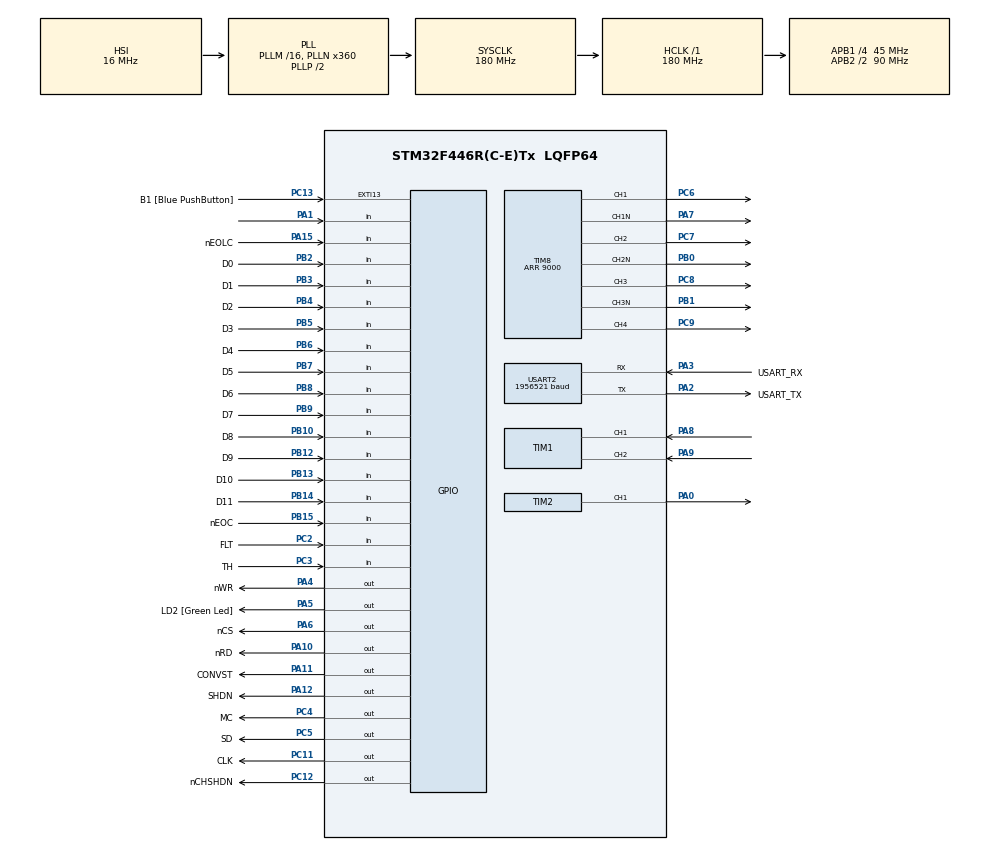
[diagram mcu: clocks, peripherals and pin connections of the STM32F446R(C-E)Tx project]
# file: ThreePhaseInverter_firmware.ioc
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Dma.Request0=USART2_RX
Dma.USART2_RX.0.Direction=DMA_PERIPH_TO_MEMORY
Dma.USART2_RX.0.FIFOMode=DMA_FIFOMODE_DISABLE
Dma.USART2_RX.0.Instance=DMA1_Stream5
Dma.USART2_RX.0.MemDataAlignment=DMA_MDATAALIGN_BYTE
Dma.USART2_RX.0.MemInc=DMA_MINC_ENABLE
Dma.USART2_RX.0.Mode=DMA_CIRCULAR
Dma.USART2_RX.0.PeriphDataAlignment=DMA_PDATAALIGN_BYTE
Dma.USART2_RX.0.PeriphInc=DMA_PINC_DISABLE
Dma.USART2_RX.0.Priority=DMA_PRIORITY_LOW
Mcu.Family=STM32F4
Mcu.Name=STM32F446R(C-E)Tx
Mcu.Package=LQFP64
NVIC.DMA1_Stream5_IRQn=true\:0\:0\:false\:false\:true\:false\:true\:true
NVIC.PriorityGroup=NVIC_PRIORITYGROUP_0
NVIC.TIM8_UP_TIM13_IRQn=true\:0\:0\:false\:false\:true\:true\:true\:true
PA0-WKUP.Signal=S_TIM2_CH1_ETR
PA1.Signal=GPIO_Input
PA10.GPIO_Label=nRD
PA10.Signal=GPIO_Output
PA11.GPIO_Label=CONVST
PA11.Signal=GPIO_Output
PA12.GPIO_Label=SHDN
PA12.Signal=GPIO_Output
PA13.GPIO_Label=TMS
PA13.Mode=Serial_Wire
PA13.Signal=SYS_JTMS-SWDIO
PA14.GPIO_Label=TCK
PA14.Mode=Serial_Wire
PA14.Signal=SYS_JTCK-SWCLK
PA15.GPIO_Label=nEOLC
PA15.GPIO_PuPd=GPIO_PULLDOWN
PA15.Signal=GPIO_Input
PA2.GPIO_Label=USART_TX
PA2.Mode=Asynchronous
PA2.Signal=USART2_TX
PA3.GPIO_Label=USART_RX
PA3.Mode=Asynchronous
PA3.Signal=USART2_RX
PA4.GPIO_Label=nWR
PA4.Signal=GPIO_Output
PA5.GPIO_Label=LD2 [Green Led]
PA5.Signal=GPIO_Output
PA6.GPIO_Label=nCS
PA6.Signal=GPIO_Output
PA7.Mode=PWM Generation1 CH1 CH1N
PA7.Signal=TIM8_CH1N
PA8.Signal=S_TIM1_CH1
PA9.Signal=S_TIM1_CH2
PB0.Mode=PWM Generation2 CH2 CH2N
PB0.Signal=TIM8_CH2N
PB1.Mode=PWM Generation3 CH3 CH3N
PB1.Signal=TIM8_CH3N
PB10.GPIO_Label=D8
PB10.GPIO_PuPd=GPIO_PULLDOWN
PB10.Signal=GPIO_Input
PB12.GPIO_Label=D9
PB12.GPIO_PuPd=GPIO_PULLDOWN
PB12.Signal=GPIO_Input
PB13.GPIO_Label=D10
PB13.GPIO_PuPd=GPIO_PULLDOWN
PB13.Signal=GPIO_Input
PB14.GPIO_Label=D11
PB14.GPIO_PuPd=GPIO_PULLDOWN
PB14.Signal=GPIO_Input
PB15.GPIO_Label=nEOC
PB15.GPIO_PuPd=GPIO_PULLDOWN
PB15.Signal=GPIO_Input
PB2.GPIO_Label=D0
PB2.GPIO_PuPd=GPIO_PULLDOWN
PB2.Signal=GPIO_Input
PB3.GPIO_Label=D1
PB3.GPIO_PuPd=GPIO_PULLDOWN
PB3.Signal=GPIO_Input
PB4.GPIO_Label=D2
PB4.GPIO_PuPd=GPIO_PULLDOWN
PB4.Signal=GPIO_Input
PB5.GPIO_Label=D3
PB5.GPIO_PuPd=GPIO_PULLDOWN
PB5.Signal=GPIO_Input
PB6.GPIO_Label=D4
PB6.GPIO_PuPd=GPIO_PULLDOWN
PB6.Signal=GPIO_Input
PB7.GPIO_Label=D5
PB7.GPIO_PuPd=GPIO_PULLDOWN
PB7.Signal=GPIO_Input
PB8.GPIO_Label=D6
PB8.GPIO_PuPd=GPIO_PULLDOWN
PB8.Signal=GPIO_Input
PB9.GPIO_Label=D7
PB9.GPIO_PuPd=GPIO_PULLDOWN
PB9.Signal=GPIO_Input
PC11.GPIO_Label=CLK
PC11.Signal=GPIO_Output
PC12.GPIO_Label=nCHSHDN
PC12.Signal=GPIO_Output
PC13.GPIO_Label=B1 [Blue PushButton]
PC13.GPIO_ModeDefaultEXTI=GPIO_MODE_IT_FALLING
PC13.Signal=GPXTI13
PC14-OSC32_IN.Mode=LSE-External-Oscillator
PC14-OSC32_IN.Signal=RCC_OSC32_IN
PC15-OSC32_OUT.Mode=LSE-External-Oscillator
PC15-OSC32_OUT.Signal=RCC_OSC32_OUT
PC2.GPIO_Label=FLT
PC2.Signal=GPIO_Input
PC3.GPIO_Label=TH
PC3.Signal=GPIO_Input
PC4.GPIO_Label=MC
PC4.Signal=GPIO_Output
PC5.GPIO_Label=SD
PC5.Signal=GPIO_Output
PC6.Signal=S_TIM8_CH1
PC7.Signal=S_TIM8_CH2
PC8.Signal=S_TIM8_CH3
PC9.Signal=S_TIM8_CH4
PH0-OSC_IN.Mode=HSE-External-Oscillator
PH0-OSC_IN.Signal=RCC_OSC_IN
PH1-OSC_OUT.Mode=HSE-External-Oscillator
PH1-OSC_OUT.Signal=RCC_OSC_OUT
ProjectManager.HeapSize=0x200
ProjectManager.StackSize=0x400
ProjectManager.TargetToolchain=STM32CubeIDE
RCC.48MHZClocksFreq_Value=84000000
RCC.AHBFreq_Value=180000000
RCC.APB1CLKDivider=RCC_HCLK_DIV4
RCC.APB1Freq_Value=45000000
RCC.APB1TimFreq_Value=90000000
RCC.APB2CLKDivider=RCC_HCLK_DIV2
RCC.APB2Freq_Value=90000000
RCC.APB2TimFreq_Value=180000000
RCC.CortexFreq_Value=180000000
RCC.FLatency-AdvancedSettings=FLASH_LATENCY_5
RCC.HCLKFreq_Value=180000000
RCC.HSE_VALUE=8000000
RCC.HSI_VALUE=16000000
RCC.PLLN=360
RCC.SYSCLKFreq_VALUE=180000000
RCC.SYSCLKSource=RCC_SYSCLKSOURCE_PLLCLK
RCC.USBFreq_Value=180000000
RCC.VCOOutputFreq_Value=360000000
SH.S_TIM1_CH1.0=TIM1_CH1,Encoder_Interface
SH.S_TIM1_CH2.0=TIM1_CH2,Encoder_Interface
SH.S_TIM2_CH1_ETR.0=TIM2_CH1,PWM Generation1 CH1
SH.S_TIM8_CH1.0=TIM8_CH1,PWM Generation1 CH1 CH1N
SH.S_TIM8_CH2.0=TIM8_CH2,PWM Generation2 CH2 CH2N
SH.S_TIM8_CH3.0=TIM8_CH3,PWM Generation3 CH3 CH3N
SH.S_TIM8_CH4.0=TIM8_CH4,PWM Generation4 CH4
TIM1.EncoderMode=TIM_ENCODERMODE_TI12
TIM2.AutoReloadPreload=TIM_AUTORELOAD_PRELOAD_DISABLE
TIM2.Channel-PWM\ Generation1\ CH1=TIM_CHANNEL_1
TIM2.CounterMode=TIM_COUNTERMODE_UP
TIM2.OCMode_PWM-PWM\ Generation1\ CH1=TIM_OCMODE_PWM2
TIM2.Period=60000
TIM2.Pulse-PWM\ Generation1\ CH1=87
TIM2.TIM_MasterOutputTrigger=TIM_TRGO_RESET
TIM2.TIM_MasterSlaveMode=TIM_MASTERSLAVEMODE_DISABLE
TIM8.Channel-PWM\ Generation1\ CH1\ CH1N=TIM_CHANNEL_1
TIM8.Channel-PWM\ Generation2\ CH2\ CH2N=TIM_CHANNEL_2
TIM8.Channel-PWM\ Generation3\ CH3\ CH3N=TIM_CHANNEL_3
TIM8.Channel-PWM\ Generation4\ CH4=TIM_CHANNEL_4
TIM8.CounterMode=TIM_COUNTERMODE_CENTERALIGNED1
TIM8.DeadTime=154
TIM8.Period=9000
TIM8.RepetitionCounter=0
TIM8.TIM_MasterOutputTrigger=TIM_TRGO_UPDATE
TIM8.TIM_MasterSlaveMode=TIM_MASTERSLAVEMODE_DISABLE
USART2.BaudRate=1956521
USART2.VirtualMode=VM_ASYNC
VP_TIM2_VS_ClockSourceINT.Mode=Internal
VP_TIM2_VS_ClockSourceITR.Mode=TriggerSource_ITR1
VP_TIM2_VS_ControllerModeReset.Mode=Reset Mode
VP_TIM8_VS_ClockSourceINT.Mode=Internal
board=NUCLEO-F446RE

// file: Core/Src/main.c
/* USER CODE BEGIN Header */
/**
  ******************************************************************************
  * @file           : main.c
  * @brief          : Main program body
  ******************************************************************************
  * @attention
  *
  * Copyright (c) 2023 STMicroelectronics.
  * All rights reserved.
  *
  * This software is licensed under terms that can be found in the LICENSE file
  * in the root directory of this software component.
  * If no LICENSE file comes with this software, it is provided AS-IS.
  *
  ******************************************************************************
  */
/* USER CODE END Header */
#include "main.h"

/* USER CODE BEGIN Includes */

#include <stdio.h>
#include <math.h>
#include <malloc.h>

#include "ntshell.h"
#include "usrcmd.h"

#include "wave_capture.h"

#include "motor_control.h"

/* USER CODE END Includes */

TIM_HandleTypeDef htim1;
TIM_HandleTypeDef htim2;
TIM_HandleTypeDef htim8;

UART_HandleTypeDef huart2;
DMA_HandleTypeDef hdma_usart2_rx;

/* USER CODE BEGIN PV */

ntshell_t nts;

WaveCapture_t wavecap;

MotorControl_t motorControl;

/* USER CODE END PV */

void SystemClock_Config(void);
static void MX_GPIO_Init(void);
static void MX_DMA_Init(void);
static void MX_USART2_UART_Init(void);
static void MX_TIM8_Init(void);
static void MX_TIM2_Init(void);
static void MX_TIM1_Init(void);
/* USER CODE BEGIN PFP */

#ifdef __GNUC__
#define PUTCHAR_PROTOTYPE int __io_putchar(int ch)
#else
#define PUTCHAR_PROTOTYPE int fputc(int ch, FILE *f)
#endif /* __GNUC__ */
void __io_putchar(uint8_t ch)
{
	HAL_UART_Transmit(&huart2, &ch, 1, 1);
}

int wave_tx_func(const uint8_t *buf, int length)
{
	HAL_StatusTypeDef status;
	status = HAL_UART_Transmit(&huart2, buf, (uint16_t)length, 1000);
	if(status != HAL_OK)
	{
		return 0;
	}
	return length;
}

/* USER CODE END PFP */

/* USER CODE BEGIN 0 */

void HAL_TIM_PeriodElapsedCallback (TIM_HandleTypeDef * htim)
{

	if(htim->Instance == TIM8 && __HAL_TIM_IS_TIM_COUNTING_DOWN(&htim8))
	{

		MotorControl_Update(&motorControl);

		WaveCapture_Sampling(&wavecap);

	}

}

/* USER CODE END 0 */

int main(void)
{

  /* MCU Configuration--------------------------------------------------------*/

  /* Reset of all peripherals, Initializes the Flash interface and the Systick. */
  HAL_Init();

  /* Configure the system clock */
  SystemClock_Config();

  /* Initialize all configured peripherals */
  MX_GPIO_Init();
  MX_DMA_Init();
  MX_USART2_UART_Init();
  MX_TIM8_Init();
  MX_TIM2_Init();
  MX_TIM1_Init();
  /* USER CODE BEGIN 2 */

  	printf("Hello World\n");

  	WaveCapture_Init_ChannelInfo_t wave_ch_init[] = {
//  			{"ad_0", WAVECAPTURE_TYPE_INT16, &(motorControl.sensor.ad_arr[0])},
//  			{"ad_1", WAVECAPTURE_TYPE_INT16, &(motorControl.sensor.ad_arr[1])},
//  			{"ad_2", WAVECAPTURE_TYPE_INT16, &(motorControl.sensor.ad_arr[2])},
//  			{"ad_3", WAVECAPTURE_TYPE_INT16, &(motorControl.sensor.ad_arr[3])},
//  			{"amp_u", WAVECAPTURE_TYPE_FLOAT, &(motorControl.amp_u)},
//  			{"amp_v", WAVECAPTURE_TYPE_FLOAT, &(motorControl.amp_v)},
//  			{"amp_w", WAVECAPTURE_TYPE_FLOAT, &(motorControl.amp_w)},
//  			{"Vu_ref", WAVECAPTURE_TYPE_FLOAT, &(motorControl.Vu_ref)},
//  			{"Vv_ref", WAVECAPTURE_TYPE_FLOAT, &(motorControl.Vv_ref)},
//  			{"Vw_ref", WAVECAPTURE_TYPE_FLOAT, &(motorControl.Vw_ref)},
//  			{"Iu", WAVECAPTURE_TYPE_FLOAT, &(motorControl.sensor.Iu)},
//  			{"Iv", WAVECAPTURE_TYPE_FLOAT, &(motorControl.sensor.Iv)},
//  			{"Iw", WAVECAPTURE_TYPE_FLOAT, &(motorControl.sensor.Iw)},
  			{"Vdc", WAVECAPTURE_TYPE_FLOAT, &(motorControl.sensor.Vdc)},
  			{"omega_m", WAVECAPTURE_TYPE_FLOAT, &(motorControl.omega_rm)},
  			{"enc_diff", WAVECAPTURE_TYPE_INT16, &(motorControl.encoder.enc_diff)},
  			{"Id", WAVECAPTURE_TYPE_FLOAT, &(motorControl.Id)},
  			{"Iq", WAVECAPTURE_TYPE_FLOAT, &(motorControl.Iq)},
  			{"Id_ref", WAVECAPTURE_TYPE_FLOAT, &(motorControl.Id_ref)},
  			{"Iq_ref", WAVECAPTURE_TYPE_FLOAT, &(motorControl.Iq_ref)},
//  			{"Vd_ref", WAVECAPTURE_TYPE_FLOAT, &(motorControl.Vd_ref)},
//  			{"Vq_ref", WAVECAPTURE_TYPE_FLOAT, &(motorControl.Vq_ref)},
//  			{"Vdq_lim", WAVECAPTURE_TYPE_FLOAT, &(motorControl.acr.Vdq_lim)},
//  			{"phi2d_est", WAVECAPTURE_TYPE_FLOAT, &(motorControl.phi_2d_est)},
//  			{"phi2q_est", WAVECAPTURE_TYPE_FLOAT, &(motorControl.phi_2q_est)},
//  			{"omega_s", WAVECAPTURE_TYPE_FLOAT, &(motorControl.omega_s_ref)},
//  			{"theta", WAVECAPTURE_TYPE_FLOAT, &(motorControl.theta)},
  			{"omega_ref", WAVECAPTURE_TYPE_FLOAT, &(motorControl.omega_ref)},
  			{"theta_rm", WAVECAPTURE_TYPE_FLOAT, &(motorControl.theta_rm)},
  			{"theta_ref", WAVECAPTURE_TYPE_FLOAT, &(motorControl.theta_ref)},
  	};
  	WaveCapture_Init_t wave_init;
  	wave_init.channel_num = sizeof(wave_ch_init) / sizeof(WaveCapture_Init_ChannelInfo_t);
  	wave_init.func_write = wave_tx_func;
  	wave_init.sampling_length = 1024;
  	wave_init.sampling_freq = 10000;
  	wave_init.ch_info_array = wave_ch_init;
  	int rtn = WaveCapture_Init(&wavecap, &wave_init);
  	if(rtn != 0)
  	{
  		printf("WaveCap Error !!\r\n");
  		Error_Handler();
  	}

  	HAL_TIM_Encoder_Start(&htim1, TIM_CHANNEL_1 | TIM_CHANNEL_2);

	MotorControl_Init(&motorControl);

	MotorControl_Setup(&motorControl);

  	ntshell_usr_init(&nts);

	ntshell_execute(&nts);

  /* USER CODE END 2 */

  /* Infinite loop */
  /* USER CODE BEGIN WHILE */
  while (1)
  {

	  HAL_Delay(100);

//	  printf("temperature flag = %d\n", HAL_GPIO_ReadPin(TH_GPIO_Port, TH_Pin));

//	  HAL_GPIO_WritePin(CONVST_GPIO_Port, CONVST_Pin, GPIO_PIN_RESET);
//	  HAL_Delay(1);
//	  HAL_GPIO_WritePin(CONVST_GPIO_Port, CONVST_Pin, GPIO_PIN_SET);
//
//	  while(HAL_GPIO_ReadPin(nEOLC_GPIO_Port, nEOLC_Pin) == GPIO_PIN_SET){}
//
//	  HAL_GPIO_WritePin(nCS_GPIO_Port, nCS_Pin, GPIO_PIN_RESET);
//
//	  uint16_t ad_arr[4];
//
//	  for(int ch = 0; ch < 4; ch++)
//	  {
//		  HAL_GPIO_WritePin(nRD_GPIO_Port, nRD_Pin, GPIO_PIN_RESET);
//		  HAL_Delay(1);
//
//		  uint32_t GB;
//		  uint16_t D, DH, DL;
//		  GB = GPIOB->IDR;
//		  DL = (GB >> 2) & 0x000001FF;
//		  DH = (GB >> 12) & 0x00000007;
//		  D = (DH << 9) | DL;
//		  ad_arr[ch] = D;
//
//		  HAL_GPIO_WritePin(nRD_GPIO_Port, nRD_Pin, GPIO_PIN_SET);
//
//		  HAL_Delay(1);
//	  }
//
//	  HAL_GPIO_WritePin(nCS_GPIO_Port, nCS_Pin, GPIO_PIN_RESET);

//	  for(int ch = 0; ch < 4; ch++)
//	  {
//		  printf("%5f  ", ad_arr[ch] / 4096.0f);
//	  }

//	  for(int i = 0; i < 12; i++)
//	  {
//		  int b = (ad_arr[0] >> (12-1-i)) & 0x1;
//		  printf("%d", b);
//		  if(((i+1) & 0x3) == 0)
//		  {
//			  printf(" ");
//		  }
//	  }

	  printf("\n");

    /* USER CODE END WHILE */

  }
}

void SystemClock_Config(void)
{
  RCC_OscInitTypeDef RCC_OscInitStruct = {0};
  RCC_ClkInitTypeDef RCC_ClkInitStruct = {0};

  /** Configure the main internal regulator output voltage
  */
  __HAL_RCC_PWR_CLK_ENABLE();
  __HAL_PWR_VOLTAGESCALING_CONFIG(PWR_REGULATOR_VOLTAGE_SCALE1);

  /** Initializes the RCC Oscillators according to the specified parameters
  * in the RCC_OscInitTypeDef structure.
  */
  RCC_OscInitStruct.OscillatorType = RCC_OSCILLATORTYPE_HSI;
  RCC_OscInitStruct.HSIState = RCC_HSI_ON;
  RCC_OscInitStruct.HSICalibrationValue = RCC_HSICALIBRATION_DEFAULT;
  RCC_OscInitStruct.PLL.PLLState = RCC_PLL_ON;
  RCC_OscInitStruct.PLL.PLLSource = RCC_PLLSOURCE_HSI;
  RCC_OscInitStruct.PLL.PLLM = 16;
  RCC_OscInitStruct.PLL.PLLN = 360;
  RCC_OscInitStruct.PLL.PLLP = RCC_PLLP_DIV2;
  RCC_OscInitStruct.PLL.PLLQ = 2;
  RCC_OscInitStruct.PLL.PLLR = 2;
  if (HAL_RCC_OscConfig(&RCC_OscInitStruct) != HAL_OK)
  {
    Error_Handler();
  }

  /** Activate the Over-Drive mode
  */
  if (HAL_PWREx_EnableOverDrive() != HAL_OK)
  {
    Error_Handler();
  }

  /** Initializes the CPU, AHB and APB buses clocks
  */
  RCC_ClkInitStruct.ClockType = RCC_CLOCKTYPE_HCLK|RCC_CLOCKTYPE_SYSCLK
                              |RCC_CLOCKTYPE_PCLK1|RCC_CLOCKTYPE_PCLK2;
  RCC_ClkInitStruct.SYSCLKSource = RCC_SYSCLKSOURCE_PLLCLK;
  RCC_ClkInitStruct.AHBCLKDivider = RCC_SYSCLK_DIV1;
  RCC_ClkInitStruct.APB1CLKDivider = RCC_HCLK_DIV4;
  RCC_ClkInitStruct.APB2CLKDivider = RCC_HCLK_DIV2;

  if (HAL_RCC_ClockConfig(&RCC_ClkInitStruct, FLASH_LATENCY_5) != HAL_OK)
  {
    Error_Handler();
  }
}

static void MX_TIM1_Init(void)
{

  TIM_Encoder_InitTypeDef sConfig = {0};
  TIM_MasterConfigTypeDef sMasterConfig = {0};

  htim1.Instance = TIM1;
  htim1.Init.Prescaler = 0;
  htim1.Init.CounterMode = TIM_COUNTERMODE_UP;
  htim1.Init.Period = 65535;
  htim1.Init.ClockDivision = TIM_CLOCKDIVISION_DIV1;
  htim1.Init.RepetitionCounter = 0;
  htim1.Init.AutoReloadPreload = TIM_AUTORELOAD_PRELOAD_DISABLE;
  sConfig.EncoderMode = TIM_ENCODERMODE_TI12;
  sConfig.IC1Polarity = TIM_ICPOLARITY_RISING;
  sConfig.IC1Selection = TIM_ICSELECTION_DIRECTTI;
  sConfig.IC1Prescaler = TIM_ICPSC_DIV1;
  sConfig.IC1Filter = 0;
  sConfig.IC2Polarity = TIM_ICPOLARITY_RISING;
  sConfig.IC2Selection = TIM_ICSELECTION_DIRECTTI;
  sConfig.IC2Prescaler = TIM_ICPSC_DIV1;
  sConfig.IC2Filter = 0;
  if (HAL_TIM_Encoder_Init(&htim1, &sConfig) != HAL_OK)
  {
    Error_Handler();
  }
  sMasterConfig.MasterOutputTrigger = TIM_TRGO_RESET;
  sMasterConfig.MasterSlaveMode = TIM_MASTERSLAVEMODE_DISABLE;
  if (HAL_TIMEx_MasterConfigSynchronization(&htim1, &sMasterConfig) != HAL_OK)
  {
    Error_Handler();
  }

}

static void MX_TIM2_Init(void)
{

  TIM_ClockConfigTypeDef sClockSourceConfig = {0};
  TIM_SlaveConfigTypeDef sSlaveConfig = {0};
  TIM_MasterConfigTypeDef sMasterConfig = {0};
  TIM_OC_InitTypeDef sConfigOC = {0};

  htim2.Instance = TIM2;
  htim2.Init.Prescaler = 0;
  htim2.Init.CounterMode = TIM_COUNTERMODE_UP;
  htim2.Init.Period = 60000;
  htim2.Init.ClockDivision = TIM_CLOCKDIVISION_DIV1;
  htim2.Init.AutoReloadPreload = TIM_AUTORELOAD_PRELOAD_DISABLE;
  if (HAL_TIM_Base_Init(&htim2) != HAL_OK)
  {
    Error_Handler();
  }
  sClockSourceConfig.ClockSource = TIM_CLOCKSOURCE_INTERNAL;
  if (HAL_TIM_ConfigClockSource(&htim2, &sClockSourceConfig) != HAL_OK)
  {
    Error_Handler();
  }
  if (HAL_TIM_PWM_Init(&htim2) != HAL_OK)
  {
    Error_Handler();
  }
  sSlaveConfig.SlaveMode = TIM_SLAVEMODE_RESET;
  sSlaveConfig.InputTrigger = TIM_TS_ITR1;
  if (HAL_TIM_SlaveConfigSynchro(&htim2, &sSlaveConfig) != HAL_OK)
  {
    Error_Handler();
  }
  sMasterConfig.MasterOutputTrigger = TIM_TRGO_RESET;
  sMasterConfig.MasterSlaveMode = TIM_MASTERSLAVEMODE_DISABLE;
  if (HAL_TIMEx_MasterConfigSynchronization(&htim2, &sMasterConfig) != HAL_OK)
  {
    Error_Handler();
  }
  sConfigOC.OCMode = TIM_OCMODE_PWM2;
  sConfigOC.Pulse = 87;
  sConfigOC.OCPolarity = TIM_OCPOLARITY_HIGH;
  sConfigOC.OCFastMode = TIM_OCFAST_DISABLE;
  if (HAL_TIM_PWM_ConfigChannel(&htim2, &sConfigOC, TIM_CHANNEL_1) != HAL_OK)
  {
    Error_Handler();
  }
  HAL_TIM_MspPostInit(&htim2);

}

static void MX_TIM8_Init(void)
{

  TIM_ClockConfigTypeDef sClockSourceConfig = {0};
  TIM_MasterConfigTypeDef sMasterConfig = {0};
  TIM_OC_InitTypeDef sConfigOC = {0};
  TIM_BreakDeadTimeConfigTypeDef sBreakDeadTimeConfig = {0};

  htim8.Instance = TIM8;
  htim8.Init.Prescaler = 0;
  htim8.Init.CounterMode = TIM_COUNTERMODE_CENTERALIGNED1;
  htim8.Init.Period = 9000;
  htim8.Init.ClockDivision = TIM_CLOCKDIVISION_DIV1;
  htim8.Init.RepetitionCounter = 0;
  htim8.Init.AutoReloadPreload = TIM_AUTORELOAD_PRELOAD_DISABLE;
  if (HAL_TIM_Base_Init(&htim8) != HAL_OK)
  {
    Error_Handler();
  }
  sClockSourceConfig.ClockSource = TIM_CLOCKSOURCE_INTERNAL;
  if (HAL_TIM_ConfigClockSource(&htim8, &sClockSourceConfig) != HAL_OK)
  {
    Error_Handler();
  }
  if (HAL_TIM_PWM_Init(&htim8) != HAL_OK)
  {
    Error_Handler();
  }
  sMasterConfig.MasterOutputTrigger = TIM_TRGO_UPDATE;
  sMasterConfig.MasterSlaveMode = TIM_MASTERSLAVEMODE_DISABLE;
  if (HAL_TIMEx_MasterConfigSynchronization(&htim8, &sMasterConfig) != HAL_OK)
  {
    Error_Handler();
  }
  sConfigOC.OCMode = TIM_OCMODE_PWM1;
  sConfigOC.Pulse = 0;
  sConfigOC.OCPolarity = TIM_OCPOLARITY_HIGH;
  sConfigOC.OCNPolarity = TIM_OCNPOLARITY_HIGH;
  sConfigOC.OCFastMode = TIM_OCFAST_DISABLE;
  sConfigOC.OCIdleState = TIM_OCIDLESTATE_RESET;
  sConfigOC.OCNIdleState = TIM_OCNIDLESTATE_RESET;
  if (HAL_TIM_PWM_ConfigChannel(&htim8, &sConfigOC, TIM_CHANNEL_1) != HAL_OK)
  {
    Error_Handler();
  }
  if (HAL_TIM_PWM_ConfigChannel(&htim8, &sConfigOC, TIM_CHANNEL_2) != HAL_OK)
  {
    Error_Handler();
  }
  if (HAL_TIM_PWM_ConfigChannel(&htim8, &sConfigOC, TIM_CHANNEL_3) != HAL_OK)
  {
    Error_Handler();
  }
  if (HAL_TIM_PWM_ConfigChannel(&htim8, &sConfigOC, TIM_CHANNEL_4) != HAL_OK)
  {
    Error_Handler();
  }
  sBreakDeadTimeConfig.OffStateRunMode = TIM_OSSR_DISABLE;
  sBreakDeadTimeConfig.OffStateIDLEMode = TIM_OSSI_DISABLE;
  sBreakDeadTimeConfig.LockLevel = TIM_LOCKLEVEL_OFF;
  sBreakDeadTimeConfig.DeadTime = 154;
  sBreakDeadTimeConfig.BreakState = TIM_BREAK_DISABLE;
  sBreakDeadTimeConfig.BreakPolarity = TIM_BREAKPOLARITY_HIGH;
  sBreakDeadTimeConfig.AutomaticOutput = TIM_AUTOMATICOUTPUT_DISABLE;
  if (HAL_TIMEx_ConfigBreakDeadTime(&htim8, &sBreakDeadTimeConfig) != HAL_OK)
  {
    Error_Handler();
  }
  HAL_TIM_MspPostInit(&htim8);

}

static void MX_USART2_UART_Init(void)
{

  huart2.Instance = USART2;
  huart2.Init.BaudRate = 1956521;
  huart2.Init.WordLength = UART_WORDLENGTH_8B;
  huart2.Init.StopBits = UART_STOPBITS_1;
  huart2.Init.Parity = UART_PARITY_NONE;
  huart2.Init.Mode = UART_MODE_TX_RX;
  huart2.Init.HwFlowCtl = UART_HWCONTROL_NONE;
  huart2.Init.OverSampling = UART_OVERSAMPLING_16;
  if (HAL_UART_Init(&huart2) != HAL_OK)
  {
    Error_Handler();
  }

}

static void MX_DMA_Init(void)
{

  /* DMA controller clock enable */
  __HAL_RCC_DMA1_CLK_ENABLE();

  /* DMA interrupt init */
  /* DMA1_Stream5_IRQn interrupt configuration */
  HAL_NVIC_SetPriority(DMA1_Stream5_IRQn, 0, 0);
  HAL_NVIC_EnableIRQ(DMA1_Stream5_IRQn);

}

static void MX_GPIO_Init(void)
{
  GPIO_InitTypeDef GPIO_InitStruct = {0};

  /* GPIO Ports Clock Enable */
  __HAL_RCC_GPIOC_CLK_ENABLE();
  __HAL_RCC_GPIOH_CLK_ENABLE();
  __HAL_RCC_GPIOA_CLK_ENABLE();
  __HAL_RCC_GPIOB_CLK_ENABLE();

  /*Configure GPIO pin Output Level */
  HAL_GPIO_WritePin(GPIOA, nWR_Pin|LD2_Pin|nCS_Pin|nRD_Pin
                          |CONVST_Pin|SHDN_Pin, GPIO_PIN_RESET);

  /*Configure GPIO pin Output Level */
  HAL_GPIO_WritePin(GPIOC, MC_Pin|SD_Pin|CLK_Pin|nCHSHDN_Pin, GPIO_PIN_RESET);

  /*Configure GPIO pin : B1_Pin */
  GPIO_InitStruct.Pin = B1_Pin;
  GPIO_InitStruct.Mode = GPIO_MODE_IT_FALLING;
  GPIO_InitStruct.Pull = GPIO_NOPULL;
  HAL_GPIO_Init(B1_GPIO_Port, &GPIO_InitStruct);

  /*Configure GPIO pins : FLT_Pin TH_Pin */
  GPIO_InitStruct.Pin = FLT_Pin|TH_Pin;
  GPIO_InitStruct.Mode = GPIO_MODE_INPUT;
  GPIO_InitStruct.Pull = GPIO_NOPULL;
  HAL_GPIO_Init(GPIOC, &GPIO_InitStruct);

  /*Configure GPIO pin : PA1 */
  GPIO_InitStruct.Pin = GPIO_PIN_1;
  GPIO_InitStruct.Mode = GPIO_MODE_INPUT;
  GPIO_InitStruct.Pull = GPIO_NOPULL;
  HAL_GPIO_Init(GPIOA, &GPIO_InitStruct);

  /*Configure GPIO pins : nWR_Pin LD2_Pin nCS_Pin nRD_Pin
                           CONVST_Pin SHDN_Pin */
  GPIO_InitStruct.Pin = nWR_Pin|LD2_Pin|nCS_Pin|nRD_Pin
                          |CONVST_Pin|SHDN_Pin;
  GPIO_InitStruct.Mode = GPIO_MODE_OUTPUT_PP;
  GPIO_InitStruct.Pull = GPIO_NOPULL;
  GPIO_InitStruct.Speed = GPIO_SPEED_FREQ_LOW;
  HAL_GPIO_Init(GPIOA, &GPIO_InitStruct);

  /*Configure GPIO pins : MC_Pin SD_Pin CLK_Pin nCHSHDN_Pin */
  GPIO_InitStruct.Pin = MC_Pin|SD_Pin|CLK_Pin|nCHSHDN_Pin;
  GPIO_InitStruct.Mode = GPIO_MODE_OUTPUT_PP;
  GPIO_InitStruct.Pull = GPIO_NOPULL;
  GPIO_InitStruct.Speed = GPIO_SPEED_FREQ_LOW;
  HAL_GPIO_Init(GPIOC, &GPIO_InitStruct);

  /*Configure GPIO pins : D0_Pin D8_Pin D9_Pin D10_Pin
                           D11_Pin nEOC_Pin D1_Pin D2_Pin
                           D3_Pin D4_Pin D5_Pin D6_Pin
                           D7_Pin */
  GPIO_InitStruct.Pin = D0_Pin|D8_Pin|D9_Pin|D10_Pin
                          |D11_Pin|nEOC_Pin|D1_Pin|D2_Pin
                          |D3_Pin|D4_Pin|D5_Pin|D6_Pin
                          |D7_Pin;
  GPIO_InitStruct.Mode = GPIO_MODE_INPUT;
  GPIO_InitStruct.Pull = GPIO_PULLDOWN;
  HAL_GPIO_Init(GPIOB, &GPIO_InitStruct);

  /*Configure GPIO pin : nEOLC_Pin */
  GPIO_InitStruct.Pin = nEOLC_Pin;
  GPIO_InitStruct.Mode = GPIO_MODE_INPUT;
  GPIO_InitStruct.Pull = GPIO_PULLDOWN;
  HAL_GPIO_Init(nEOLC_GPIO_Port, &GPIO_InitStruct);

}

void Error_Handler(void)
{
  __disable_irq();
  while (1)
  {
  }
}
